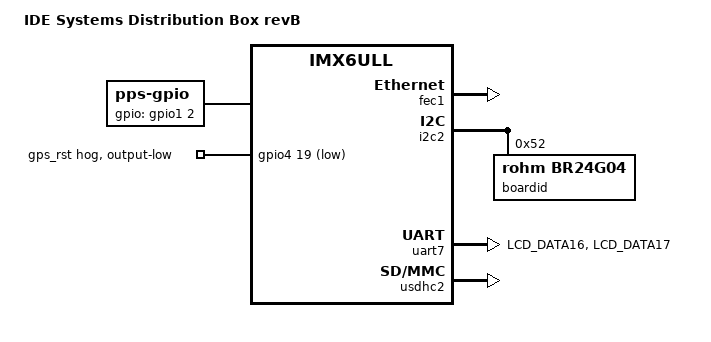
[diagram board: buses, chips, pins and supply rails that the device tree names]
// SPDX-License-Identifier: (GPL-2.0+ OR MIT)
/*
 * Copyright 2021 Amotus Solution Inc.
 * Author: Marc Ferland <ferlandm@amotus.ca>
 */

/dts-v1/;

#include "imx6ull.dtsi"
#include "imx6ull-var-dart6ul.dtsi"
#include "imx6ul-var-dart6ul-wifi.dtsi"
#include "imx6ull-dart6ul-ide-pmc.dtsi"

/ {
	model = "IDE Systems Distribution Box revB";
        compatible = "ide,imx6ull-dart6ul-ide-pmc-reva", "fsl,imx6ull";

	pps {
		pinctrl-names = "default";
		pinctrl-0 = <&pinctrl_pps>;
		compatible = "pps-gpio";
		gpios = <&gpio1 2 GPIO_ACTIVE_HIGH>;
		status = "okay";
	};
};

&fec1 {
        status = "okay";
};

&gpio3 {
	gpio-line-names = "", "", "", "", "METER_RSTn", "", "", "",
	"", "", "", "", "", "", "", "",
	"", "", "", "", "", "", "", "",
	"", "", "", "", "", "", "", "";
};

&gpio4 {
	gpio-line-names = "", "", "", "", "", "", "", "",
	"", "", "", "METER_ID_B1", "", "", "METER_ADR_B1", "METER_ID_B0",
	"METER_ADR_B0", "", "", "GPS_RSTn", "", "", "", "",
	"", "METER_PC7", "METER_PC8", "METER_PC10", "METER_PC9", "", "", "";

	gps_rst {
		gpios = <19 GPIO_ACTIVE_LOW>;
		gpio-hog;
		output-low;
	};
};

&i2c2 {
	boardid: eeprom@52 {
		compatible = "rohm,br24g04", "atmel,24c04";
		pagesize = <16>;
		reg = <0x52>;
	};
};

&iomuxc {
	pinctrl-1 = <&pinctrl_hog2>;

	pinctrl_hog2: hog2grp {
		fsl,pins = <
		/* Meter gpios -- revB specific */
		MX6UL_PAD_LCD_RESET__GPIO3_IO04      0x1b0b0 /* J1-56: METER_RSTn   */
		MX6UL_PAD_NAND_CLE__GPIO4_IO15       0x1b0b0 /* J2-61: METER_ID_B0  */
		MX6UL_PAD_NAND_WP_B__GPIO4_IO11      0x1b0b0 /* J2-63: METER_ID_B1  */
		MX6UL_PAD_NAND_DQS__GPIO4_IO16       0x1b0b0 /* J1-62: METER_ADR_B0 */
		MX6UL_PAD_NAND_CE1_B__GPIO4_IO14     0x1b0b0 /* J1-58: METER_ADR_B1 */
		/* gps reset */
		MX6UL_PAD_CSI_VSYNC__GPIO4_IO19      0x1b0b0 /* J1-89: GPS_RSTn */
		>;
	};

	pinctrl_uart7: uart7grp {
		fsl,pins = <
		MX6UL_PAD_LCD_DATA16__UART7_DCE_TX	0x1b0b1 /* J1-06 */
		MX6UL_PAD_LCD_DATA17__UART7_DCE_RX	0x1b0b1 /* J1-10 */
		>;
	};

	pinctrl_pps: ppsgrp {
		fsl,pins = <
		MX6UL_PAD_GPIO1_IO02__GPIO1_IO02       0x1b0b0 /* J2-48: GPS PPS (default: 1Hz) */
		>;
	};
};

/* ttymxc6 uart - wirepass */
&uart7 {
        pinctrl-name = "default";
        pinctrl-0 = <&pinctrl_uart7>;
        status = "okay";
};

&usdhc2 {
        status = "okay";
};
